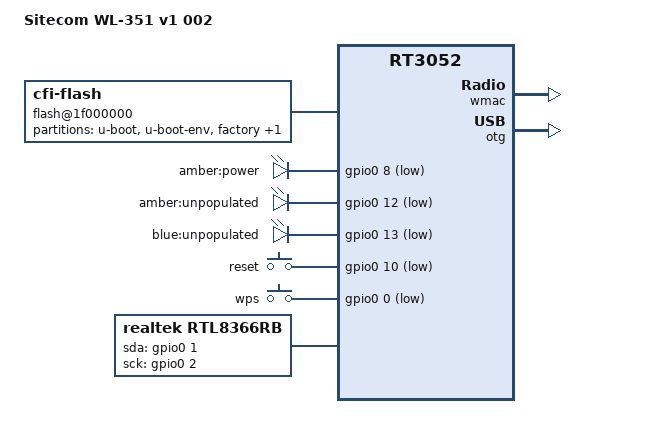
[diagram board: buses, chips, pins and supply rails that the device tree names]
#include "rt3050.dtsi"

#include <dt-bindings/gpio/gpio.h>
#include <dt-bindings/input/input.h>

/ {
	compatible = "sitecom,wl-351", "ralink,rt3052-soc";
	model = "Sitecom WL-351 v1 002";

	aliases {
		led-boot = &led_power;
		led-failsafe = &led_power;
		led-running = &led_power;
		led-upgrade = &led_power;
	};

	flash@1f000000 {
		compatible = "cfi-flash";
		reg = <0x1f000000 0x800000>;
		bank-width = <2>;
		device-width = <2>;

		partitions {
			compatible = "fixed-partitions";
			#address-cells = <1>;
			#size-cells = <1>;

			partition@0 {
				label = "u-boot";
				reg = <0x0 0x30000>;
				read-only;
			};

			partition@30000 {
				label = "u-boot-env";
				reg = <0x30000 0x10000>;
				read-only;
			};

			factory: partition@40000 {
				label = "factory";
				reg = <0x40000 0x10000>;
				read-only;
			};

			partition@50000 {
				compatible = "denx,uimage";
				label = "firmware";
				reg = <0x50000 0x3b0000>;
			};
		};
	};

	leds {
		compatible = "gpio-leds";

		led_power: power {
			label = "amber:power";
			gpios = <&gpio0 8 GPIO_ACTIVE_LOW>;
		};

		unpopulated {
			label = "amber:unpopulated";
			gpios = <&gpio0 12 GPIO_ACTIVE_LOW>;
		};

		unpopulated2 {
			label = "blue:unpopulated";
			gpios = <&gpio0 13 GPIO_ACTIVE_LOW>;
		};
	};

	keys {
		compatible = "gpio-keys-polled";
		poll-interval = <20>;

		reset {
			label = "reset";
			gpios = <&gpio0 10 GPIO_ACTIVE_LOW>;
			linux,code = <KEY_RESTART>;
		};

		wps {
			label = "wps";
			gpios = <&gpio0 0 GPIO_ACTIVE_LOW>;
			linux,code = <KEY_WPS_BUTTON>;
		};
	};

	rtl8366rb {
		compatible = "realtek,rtl8366rb";
		gpio-sda = <&gpio0 1 GPIO_ACTIVE_HIGH>;
		gpio-sck = <&gpio0 2 GPIO_ACTIVE_HIGH>;
	};
};

&state_default {
	gpio {
		groups = "spi", "i2c", "jtag", "mdio", "uartf";
		function = "gpio";
	};
};

&ethernet {
	nvmem-cells = <&macaddr_factory_4>;
	nvmem-cell-names = "mac-address";
	pinctrl-names = "default";
	pinctrl-0 = <&rgmii_pins>;
};

&esw {
	ralink,rgmii = <1>;
	mediatek,portmap = <0x3f>;
	ralink,fct2 = <0x0002500c>;
	/*
	 * ext phy base addr 31, rx/tx clock skew 0,
	 * turbo mii off, rgmi 3.3v off, port 5 polling off
	 * port5: enabled, gige, full-duplex, rx/tx-flow-control
	 * port6: enabled, gige, full-duplex, rx/tx-flow-control
	*/
	ralink,fpa2 = <0x1f003fff>;
};

&wmac {
	ralink,mtd-eeprom = <&factory 0x0>;
};

&otg {
	status = "okay";
};

&factory {
	compatible = "nvmem-cells";
	#address-cells = <1>;
	#size-cells = <1>;

	macaddr_factory_4: macaddr@4 {
		reg = <0x4 0x6>;
	};
};
